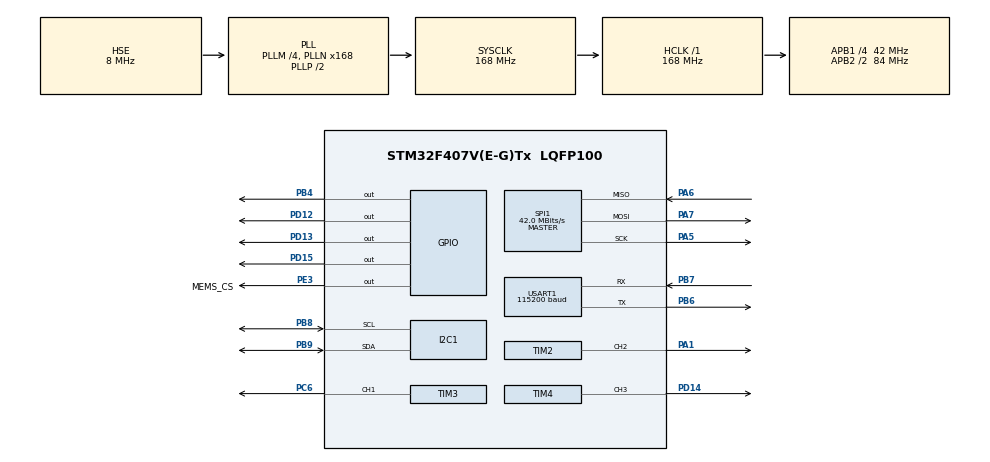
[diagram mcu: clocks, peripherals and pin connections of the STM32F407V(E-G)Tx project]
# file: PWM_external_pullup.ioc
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Dma.Request0=USART1_TX
Dma.Request1=USART1_RX
Dma.USART1_RX.1.Direction=DMA_PERIPH_TO_MEMORY
Dma.USART1_RX.1.FIFOMode=DMA_FIFOMODE_DISABLE
Dma.USART1_RX.1.Instance=DMA2_Stream2
Dma.USART1_RX.1.MemDataAlignment=DMA_MDATAALIGN_BYTE
Dma.USART1_RX.1.MemInc=DMA_MINC_ENABLE
Dma.USART1_RX.1.Mode=DMA_NORMAL
Dma.USART1_RX.1.PeriphDataAlignment=DMA_PDATAALIGN_BYTE
Dma.USART1_RX.1.PeriphInc=DMA_PINC_DISABLE
Dma.USART1_RX.1.Priority=DMA_PRIORITY_LOW
Dma.USART1_TX.0.Direction=DMA_MEMORY_TO_PERIPH
Dma.USART1_TX.0.FIFOMode=DMA_FIFOMODE_DISABLE
Dma.USART1_TX.0.Instance=DMA2_Stream7
Dma.USART1_TX.0.MemDataAlignment=DMA_MDATAALIGN_BYTE
Dma.USART1_TX.0.MemInc=DMA_MINC_ENABLE
Dma.USART1_TX.0.Mode=DMA_NORMAL
Dma.USART1_TX.0.PeriphDataAlignment=DMA_PDATAALIGN_BYTE
Dma.USART1_TX.0.PeriphInc=DMA_PINC_DISABLE
Dma.USART1_TX.0.Priority=DMA_PRIORITY_LOW
I2C1.I2C_Mode=I2C_Fast
Mcu.Family=STM32F4
Mcu.Name=STM32F407V(E-G)Tx
Mcu.Package=LQFP100
NVIC.DMA2_Stream2_IRQn=true\:0\:0\:false\:false\:true\:false\:true
NVIC.DMA2_Stream7_IRQn=true\:0\:0\:false\:false\:true\:false\:true
NVIC.PriorityGroup=NVIC_PRIORITYGROUP_0
NVIC.TIM1_TRG_COM_TIM11_IRQn=true\:0\:0\:false\:false\:true\:true\:true
NVIC.TIM1_UP_TIM10_IRQn=true\:0\:0\:false\:false\:true\:true\:true
NVIC.TIM3_IRQn=true\:0\:0\:false\:false\:true\:true\:true
NVIC.TIM4_IRQn=true\:0\:0\:false\:false\:true\:true\:true
NVIC.TIM8_UP_TIM13_IRQn=true\:0\:0\:false\:false\:true\:true\:true
NVIC.USART1_IRQn=true\:0\:0\:false\:false\:true\:true\:true
PA1.GPIO_ModeDefaultPP=GPIO_MODE_AF_OD
PA1.GPIO_PuPd=GPIO_NOPULL
PA1.Signal=S_TIM2_CH2
PA5.Mode=Full_Duplex_Master
PA5.Signal=SPI1_SCK
PA6.Mode=Full_Duplex_Master
PA6.Signal=SPI1_MISO
PA7.Mode=Full_Duplex_Master
PA7.Signal=SPI1_MOSI
PB4.Signal=GPIO_Output
PB6.Mode=Asynchronous
PB6.Signal=USART1_TX
PB7.Mode=Asynchronous
PB7.Signal=USART1_RX
PB8.Mode=I2C
PB8.Signal=I2C1_SCL
PB9.Mode=I2C
PB9.Signal=I2C1_SDA
PC6.Signal=S_TIM3_CH1
PD12.Signal=GPIO_Output
PD13.Signal=GPIO_Output
PD14.GPIO_ModeDefaultPP=GPIO_MODE_AF_OD
PD14.GPIO_PuPd=GPIO_NOPULL
PD14.Signal=S_TIM4_CH3
PD15.Signal=GPIO_Output
PE3.GPIO_Label=MEMS_CS
PE3.Signal=GPIO_Output
PH0-OSC_IN.Mode=HSE-External-Oscillator
PH0-OSC_IN.Signal=RCC_OSC_IN
PH1-OSC_OUT.Mode=HSE-External-Oscillator
PH1-OSC_OUT.Signal=RCC_OSC_OUT
ProjectManager.HeapSize=0x200
ProjectManager.StackSize=0x400
ProjectManager.TargetToolchain=MDK-ARM V5
RCC.48MHZClocksFreq_Value=48000000
RCC.AHBFreq_Value=168000000
RCC.APB1CLKDivider=RCC_HCLK_DIV4
RCC.APB1Freq_Value=42000000
RCC.APB1TimFreq_Value=84000000
RCC.APB2CLKDivider=RCC_HCLK_DIV2
RCC.APB2Freq_Value=84000000
RCC.APB2TimFreq_Value=168000000
RCC.CortexFreq_Value=168000000
RCC.HCLKFreq_Value=168000000
RCC.HSE_VALUE=8000000
RCC.HSI_VALUE=16000000
RCC.LSE_VALUE=32768
RCC.PLLM=4
RCC.PLLN=168
RCC.PLLQ=7
RCC.PLLSourceVirtual=RCC_PLLSOURCE_HSE
RCC.SYSCLKFreq_VALUE=168000000
RCC.SYSCLKSource=RCC_SYSCLKSOURCE_PLLCLK
RCC.VCOOutputFreq_Value=336000000
SH.S_TIM2_CH2.0=TIM2_CH2,PWM Generation2 CH2
SH.S_TIM3_CH1.0=TIM3_CH1,PWM Generation1 CH1
SH.S_TIM4_CH3.0=TIM4_CH3,PWM Generation3 CH3
SPI1.BaudRatePrescaler=SPI_BAUDRATEPRESCALER_2
SPI1.CalculateBaudRate=42.0 MBits/s
SPI1.Direction=SPI_DIRECTION_2LINES
SPI1.Mode=SPI_MODE_MASTER
SPI1.VirtualType=VM_MASTER
TIM10.Period=239
TIM10.Prescaler=9999
TIM11.Period=8399
TIM11.Prescaler=9999
TIM13.Period=83
TIM13.Prescaler=9999
TIM2.Channel-PWM\ Generation2\ CH2=TIM_CHANNEL_2
TIM2.Period=999
TIM2.Prescaler=1679
TIM3.Channel-PWM\ Generation1\ CH1=TIM_CHANNEL_1
TIM3.Period=999
TIM3.Prescaler=419
TIM4.Channel-PWM\ Generation3\ CH3=TIM_CHANNEL_3
TIM4.Period=999
TIM4.Prescaler=419
USART1.BaudRate=115200
USART1.VirtualMode=VM_ASYNC
VP_TIM10_VS_ClockSourceINT.Mode=Enable_Timer
VP_TIM11_VS_ClockSourceINT.Mode=Enable_Timer
VP_TIM13_VS_ClockSourceINT.Mode=Enable_Timer
VP_TIM2_VS_ClockSourceINT.Mode=Internal
VP_TIM3_VS_ClockSourceINT.Mode=Internal
VP_TIM4_VS_ClockSourceINT.Mode=Internal
board=STM32F4DISCOVERY

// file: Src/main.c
/* USER CODE BEGIN Header */
/**
  ******************************************************************************
  * @file           : main.c
  * @brief          : Main program body
  ******************************************************************************
  * Source code of spherical robot 'SPHERE' constructed by Adrian Luberda on
	* AGH University of Science in Technology as part of Engineering and
	* Master Thesis in years: 2018 - 2020.
	*
	* This is the final version of the code.
  *
  ******************************************************************************
  */
/* USER CODE END Header */

#include "main.h"

/* USER CODE BEGIN Includes */
#include "stm32f4xx_hal.h"
#include "i2c.h"
#include <string.h>
#include "gpio.h"
#include "mpu6050.h"
#include <math.h>
//#include "stdlib.h"
//#include "stdint.h" // makes uint8_t available

/* USER CODE END Includes */

/* USER CODE BEGIN PD */
#define EPS  (float) 0.08f
#define P1   (float) -0.000067f
#define P2   (float) -0.000287f
#define P3   (float) 0.871698f
#define KP   (float) 0.9f//0.7f //1.0f //0.751
#define KI   (float) -0.035f//-0.2f //-0.8f
#define KD   (float) -0.07f//-0.11f//-0.125f
#define	TD   (float) 0.1f//0.1f
#define TP   (float) 0.014f
#define TRES (float) 0.0f
#define TF   (float) 0.14f
/* USER CODE END PD */

I2C_HandleTypeDef hi2c1;

SPI_HandleTypeDef hspi1;

TIM_HandleTypeDef htim2;
TIM_HandleTypeDef htim3;
TIM_HandleTypeDef htim4;
TIM_HandleTypeDef htim10;
TIM_HandleTypeDef htim11;
TIM_HandleTypeDef htim13;

UART_HandleTypeDef huart1;
DMA_HandleTypeDef hdma_usart1_tx;
DMA_HandleTypeDef hdma_usart1_rx;

/* USER CODE BEGIN PV */
uint8_t received_data1;
uint8_t received_data[4];

int16_t acc_x, acc_y, acc_z, gyr_x, gyr_y, gyr_z;
float ax, ay, az, gx, gy, gz, temperature, roll, pitch;
float q0_mah, q1_mah, q2_mah, q3_mah;
float q0_mad, q1_mad, q2_mad, q3_mad;
uint8_t buffer[128];
static uint8_t send_data[40];
uint16_t size = 0;

float pitch_comp, roll_comp; //values from complementary filter
float pitchGyro, pitchAccel;

uint16_t counter = 0;

/*  *************PID**************  */
//PID variables:
float sphereRoll_SetPoint = 0.0;
float roll_error = 0.0;
float prev_roll_error = 0;
float prev_prev_roll_error = 0;
float control = 0.0;
float prev_control = 0.0;
float prev_prev_control = 0.0;

 /* Choose a controller type
		0 - no controller
		1 - PID                      */
uint8_t controller_type = 0;
float wspE  = (KP*TD+KD);
float wspE1 = (KI*TP*TD + KP*(TP-2*TD) - 2*KD);
float wspE2 = (TP-TD)*(KI*TP - KP) + KD;
float wspU1 = -(TP-2*TD);
float wspU2 = -(TD-TP);

/* *************END PID**************  */

/* Mode 2 */
//float proportional = 0;
//float integrator = 0;
//float differentiator = 0;
//float Kp = -0.7; //2.0;
//float Ki = 0.1;
//float Kd = 0.35; //0.0;
//float T = 0.1; //0.01428;

/* USER CODE END PV */

void SystemClock_Config(void);
static void MX_GPIO_Init(void);
static void MX_DMA_Init(void);
static void MX_TIM4_Init(void);
static void MX_USART1_UART_Init(void);
static void MX_TIM11_Init(void);
static void MX_TIM2_Init(void);
static void MX_SPI1_Init(void);
static void MX_I2C1_Init(void);
static void MX_TIM10_Init(void);
static void MX_TIM13_Init(void);
static void MX_TIM3_Init(void);
/* USER CODE BEGIN PFP */

/*
void HAL_TIM_PeriodElapsedCallback(TIM_HandleTypeDef *htim)
{
	if (htim->Instance == TIM6){
		do tim6 stuff
	}
	if (htim->Instance == TIM7){
		do tim7 stuff
	}
}
*/

//Timer interrupts
void HAL_TIM_PeriodElapsedCallback(TIM_HandleTypeDef *htim){

	if(htim->Instance == TIM10){ //70Hz Interrupt for sending data to PC

		//MPU6050_GetAccelerometerScaled(&ax, &ay, &az);
	  //MPU6050_GetGyroscopeScaled(&gx, &gy, &gz);

		//ComplementaryFilter(&roll_comp, &pitch_comp);//, &pitchGyro, &pitchAccel);
		//MPU6050_GetRollPitch(&roll, &pitch);

		//Outputformat for debugging:
		//size = sprintf(send_data, "%.2f,%.2f,%d \n", control, pitch_comp, TIM2->CCR2);

		//output format for GUI:
		size = sprintf(send_data, "%.2f,%.2f,%d,%d \n", roll_comp, pitch_comp, TIM2->CCR2, TIM3->CCR1);
		HAL_UART_Transmit_DMA(&huart1, send_data, size);

	}

	if(htim->Instance == TIM13) { // 200Hz interrupt for PID

		ComplementaryFilter(&roll_comp, &pitch_comp);
		//MPU6050_GetRollPitch(&roll, &pitch);

		//Calculate error between set and actual roll angle value
		// sphereRoll_SetPoint = 0.0
		// pitch_comp e[-45,45] deg
		roll_error = sphereRoll_SetPoint - pitch_comp; //pitch_comp is actually roll_comp

		//Calculate control
		control = (roll_error*wspE + prev_roll_error*wspE1 + prev_prev_roll_error*wspE2 + prev_control*wspU1 + prev_prev_control*wspU2)/TD;

		//proportional = Kp * roll_error;
		//integrator = integrator + 0.5f * Ki * T * (roll_error + prev_roll_error);

		//control = proportional + integrator; // + differentiator;

		if(control>98)
			 control = 98;
		else if(control<-98)
			 control = -98;

		if(controller_type == 0) { //if controller_type is a PID
			TIM2->CCR2 = (int)(57 + (30 * control/100));
		}

//		if(control > 0){   //turn [R]ight
//			TIM2->CCR2 = (int)(57 + (30 * control/100));
//		}
//		else if(control < 0) {    //turn [L]eft
//			TIM2->CCR2 = (int)(57 + (30 * control/100));
//		} else {
//			TIM2->CCR2 = 57;
//		}

		prev_prev_control = prev_control;
		prev_control = control;
		prev_prev_roll_error = prev_roll_error;
		prev_roll_error = roll_error;

		//size = sprintf(send_data, "%.2f,%d \n", pitch_comp, TIM2->CCR2);
		//size = sprintf(send_data, "%.2f,%.2f,%d,%d \n", roll, pitch_comp, TIM2->CCR2, counter);
		//HAL_UART_Transmit_DMA(&huart1, send_data, size);
	}

}

//UART Interrupt - get data from UART (Bluetooth module). 4 digits, speed and turn control.
void HAL_UART_RxCpltCallback(UART_HandleTypeDef *huart) {
	/*
	//(OLD SERVO: TIM4->CCR3 = 74; 		// Servo bez blokady: 40-0.8ms, 50-1.0ms, 80-1.6ms, 100-2.0ms, 110-2.2ms  74- STOP)
	//TIM4->CCR3 = (int)(74 - (34 * speed/100)); //zadajemy predkosc proporcjonalna do zadanej wahadla bez blokady
	//size = sprintf(send_data, "SF%d, TIM4: %d, Roll: %.2f\n", speed, TIM4->CCR3, pitch_comp);
	//TIM4->CCR3 = (int)(74 + (34 * speed/100)); //zadajemy predkosc proporcjonalna do zadanej wahadla bez blokady
	//size = sprintf(send_data, "SR%d, TIM4: %d, Roll: %.2f\n", speed, TIM4->CCR3, pitch_comp);

	//NEW SERVO:  TIM4->CCR3 = 300;       //360 servo: 90-MAX SPEED CCW, 300-STOP, 530-MAX SPEED CW
	//TURN SERVO: TIM2->CCR2 = 56; // Servo z blokada: 20-0.4ms, 130-2.6ms  32- lewe skrajne, 56-srodek, 80-prawe skrajne

	//uint8_t send_data[50];
	//uint16_t size = 0;
	*/

	//uint8_t controller = atoi(&received_data[0]);
	uint8_t servo = received_data[0]; // S - bez blokady, T - z blokada
	uint8_t direction = received_data[1]; //Left, Right, albo Forward, Reverse
	int speed = atoi(&received_data[2]); // will read till the end of message? // + atoi(&received_data[3]); //  0-99% ???

	//controller_type = controller;

	if(servo == 'S' || servo == 's') { //jezeli chcemy sterowac predkoscia [S]peed
		if( direction == 'F' || direction == 'f'){    //jazda do przodu [F]orward
			TIM3->CCR1 = (int)(300 + (210 * speed/100));
		}
		else if(direction == 'R' || direction == 'r') {      //jazda do tylu [R]everse
			TIM3->CCR1 = (int)(300 - (210 * speed/100));
		}
		else{		// Other unforseen messages
			//size = sprintf(send_data, "Odebrana wiadomosc zawiera nieznane znaki!\n");
		}
	}
	else if(servo == 'T' || servo == 't'){        // jezeli chcemy skrecac [T]urn
		if(direction == 'R' || direction == 'r'){   // skrecamy w prawo [R]ight
			if(controller_type == 0){
			TIM2->CCR2 = (int)(57 - (30 * speed/100));
			//size = sprintf(send_data, "TR%d, TIM2: %d, Roll: %.2f\n", speed, TIM2->CCR2, pitch_comp);
			}
		}
		else if(direction == 'L' || direction == 'l') {			//skrecamy w lewo [L]eft
			if(controller_type == 0){
			TIM2->CCR2 = (int)(57 + (30 * speed/100));
			//size = sprintf(send_data, "TL%d, TIM2: %d, Roll: %.2f\n", speed, TIM2->CCR2, pitch_comp);
			}
		}
		else{   // znaki inne niz przewidziane
			//size = sprintf(send_data, "Odebrana wiadomosc zawiera nieznane znaki!\n");
		}
	}
	else {  // znaki inne niz przewidziane
		//size = sprintf(send_data, "Odebrana wiadomosc zawiera nieznane znaki!\n");
	}

	//size = sprintf(send_data, "Roll: %f.2f  Pitch: %f.2f \n", roll, pitch);
	//size = sprintf(send_data, "Odebrana wiadomosc: '%s'\n\r", received_data);
	//wyslanie przygotowanej wiadomosci
	//HAL_UART_Transmit_IT(&huart1, send_data, size);

  HAL_UART_Receive_DMA(&huart1, received_data, 4); //Enable listening
	HAL_GPIO_TogglePin(GPIOD, GPIO_PIN_15); //LED informing that UART collected data
}

//funkcja wysylajaca dane do komputera z czestotliwoscia 1Hz (przerwanie od timera)
//void HAL_TIM_PeriodElapsedCallback(TIM_HandleTypeDef *htim) {
//	uint8_t data[50];// Tablica przechowujaca wysylana wiadomosc.
//	uint16_t size = 0; // Rozmiar wysylanej wiadomosci
////static uint16_t cnt = 0; // Licznik wyslanych wiadomosci
//
//	//HAL_GPIO_TogglePin(GPIOD, GPIO_PIN_13); // Zmiana stanu pinu na diodzie LED (pomaranczowej)
//	size = sprintf(send_data, "%.2f,%.2f,%.2f \n", roll_comp, pitchGyro, pitchAccel);
//	//size = sprintf(data, "Roll: %f  Pitch: %f \n", roll, pitch);  // Wiadomosc do wyslania i przypisanie ilosci wysylanych znakow do zmiennej size.
////
//	HAL_UART_Transmit_IT(&huart1, data, size); // Rozpoczecie nadawania danych z wykorzystaniem przerwan
////	HAL_UART_Receive_IT(&huart1, received_data, 4);
////	//++cnt; // Zwiekszenie licznika wyslanych wiadomosci.
//}

/* USER CODE END PFP */

int main(void)
{

  /* MCU Configuration--------------------------------------------------------*/

  /* Reset of all peripherals, Initializes the Flash interface and the Systick. */
  HAL_Init();

  /* Configure the system clock */
  SystemClock_Config();

  /* Initialize all configured peripherals */
  MX_GPIO_Init();
  MX_DMA_Init();
  MX_TIM4_Init();
  MX_USART1_UART_Init();
  MX_TIM11_Init();
  MX_TIM2_Init();
  MX_SPI1_Init();
  MX_I2C1_Init();
  MX_TIM10_Init();
  MX_TIM13_Init();
  MX_TIM3_Init();
  /* USER CODE BEGIN 2 */
	HAL_TIM_PWM_Start(&htim4, TIM_CHANNEL_3);
	HAL_TIM_PWM_Start(&htim2, TIM_CHANNEL_2);
	HAL_TIM_PWM_Start(&htim3, TIM_CHANNEL_1);
	HAL_TIM_Base_Start_IT(&htim11);
	HAL_TIM_Base_Start_IT(&htim10);
	HAL_TIM_Base_Start_IT(&htim13);
	HAL_UART_Receive_DMA(&huart1, received_data, 4); //odbieramy 4 znaki z uart1 i zapisujemy do received_data

	//TIM4->CCR3 = 74; 		// Servo bez blokady: 40-0.8ms, 50-1.0ms, 80-1.6ms, 100-2.0ms, 110-2.2ms  74- STOP
	//TIM4->CCR3 = 300;
	TIM3->CCR1 = 300;
	TIM2->CCR2 = 57; // Servo z blokada: 20-0.4ms, 130-2.6ms  32[0.6ms]- lewe skrajne, 56[1.12ms]-srodek, 80[1.6ms]-prawe skrajne
	HAL_GPIO_WritePin(GPIOB, GPIO_PIN_4, GPIO_PIN_SET);

// IMU Functions:

	HAL_GPIO_WritePin(GPIOB, GPIO_PIN_4, GPIO_PIN_SET);

	MPU6050_Init(&hi2c1);

	//PID
	//wspE  = (KP*TD+KD);
	//wspE1 = (KI*TP*TD + KP*(TP-2*TD) - 2*KD);
	//wspE2 = (TP-TD)*(KI*TP - KP) + KD;
	//wspU1 = -(TP-2*TD);
	//wspU2 = -(TD-TP);

  /* USER CODE END 2 */

  /* Infinite loop */
  while (1){

  }
}

void SystemClock_Config(void)
{
  RCC_OscInitTypeDef RCC_OscInitStruct = {0};
  RCC_ClkInitTypeDef RCC_ClkInitStruct = {0};

  /** Configure the main internal regulator output voltage
  */
  __HAL_RCC_PWR_CLK_ENABLE();
  __HAL_PWR_VOLTAGESCALING_CONFIG(PWR_REGULATOR_VOLTAGE_SCALE1);
  /** Initializes the CPU, AHB and APB busses clocks
  */
  RCC_OscInitStruct.OscillatorType = RCC_OSCILLATORTYPE_HSE;
  RCC_OscInitStruct.HSEState = RCC_HSE_ON;
  RCC_OscInitStruct.PLL.PLLState = RCC_PLL_ON;
  RCC_OscInitStruct.PLL.PLLSource = RCC_PLLSOURCE_HSE;
  RCC_OscInitStruct.PLL.PLLM = 4;
  RCC_OscInitStruct.PLL.PLLN = 168;
  RCC_OscInitStruct.PLL.PLLP = RCC_PLLP_DIV2;
  RCC_OscInitStruct.PLL.PLLQ = 7;
  if (HAL_RCC_OscConfig(&RCC_OscInitStruct) != HAL_OK)
  {
    Error_Handler();
  }
  /** Initializes the CPU, AHB and APB busses clocks
  */
  RCC_ClkInitStruct.ClockType = RCC_CLOCKTYPE_HCLK|RCC_CLOCKTYPE_SYSCLK
                              |RCC_CLOCKTYPE_PCLK1|RCC_CLOCKTYPE_PCLK2;
  RCC_ClkInitStruct.SYSCLKSource = RCC_SYSCLKSOURCE_PLLCLK;
  RCC_ClkInitStruct.AHBCLKDivider = RCC_SYSCLK_DIV1;
  RCC_ClkInitStruct.APB1CLKDivider = RCC_HCLK_DIV4;
  RCC_ClkInitStruct.APB2CLKDivider = RCC_HCLK_DIV2;

  if (HAL_RCC_ClockConfig(&RCC_ClkInitStruct, FLASH_LATENCY_5) != HAL_OK)
  {
    Error_Handler();
  }
}

static void MX_I2C1_Init(void)
{

  hi2c1.Instance = I2C1;
  hi2c1.Init.ClockSpeed = 400000;
  hi2c1.Init.DutyCycle = I2C_DUTYCYCLE_2;
  hi2c1.Init.OwnAddress1 = 0;
  hi2c1.Init.AddressingMode = I2C_ADDRESSINGMODE_7BIT;
  hi2c1.Init.DualAddressMode = I2C_DUALADDRESS_DISABLE;
  hi2c1.Init.OwnAddress2 = 0;
  hi2c1.Init.GeneralCallMode = I2C_GENERALCALL_DISABLE;
  hi2c1.Init.NoStretchMode = I2C_NOSTRETCH_DISABLE;
  if (HAL_I2C_Init(&hi2c1) != HAL_OK)
  {
    Error_Handler();
  }

}

static void MX_SPI1_Init(void)
{

  /* SPI1 parameter configuration*/
  hspi1.Instance = SPI1;
  hspi1.Init.Mode = SPI_MODE_MASTER;
  hspi1.Init.Direction = SPI_DIRECTION_2LINES;
  hspi1.Init.DataSize = SPI_DATASIZE_8BIT;
  hspi1.Init.CLKPolarity = SPI_POLARITY_LOW;
  hspi1.Init.CLKPhase = SPI_PHASE_1EDGE;
  hspi1.Init.NSS = SPI_NSS_SOFT;
  hspi1.Init.BaudRatePrescaler = SPI_BAUDRATEPRESCALER_2;
  hspi1.Init.FirstBit = SPI_FIRSTBIT_MSB;
  hspi1.Init.TIMode = SPI_TIMODE_DISABLE;
  hspi1.Init.CRCCalculation = SPI_CRCCALCULATION_DISABLE;
  hspi1.Init.CRCPolynomial = 10;
  if (HAL_SPI_Init(&hspi1) != HAL_OK)
  {
    Error_Handler();
  }

}

static void MX_TIM2_Init(void)
{

  TIM_ClockConfigTypeDef sClockSourceConfig = {0};
  TIM_MasterConfigTypeDef sMasterConfig = {0};
  TIM_OC_InitTypeDef sConfigOC = {0};

  htim2.Instance = TIM2;
  htim2.Init.Prescaler = 1679;
  htim2.Init.CounterMode = TIM_COUNTERMODE_UP;
  htim2.Init.Period = 999;
  htim2.Init.ClockDivision = TIM_CLOCKDIVISION_DIV1;
  htim2.Init.AutoReloadPreload = TIM_AUTORELOAD_PRELOAD_DISABLE;
  if (HAL_TIM_Base_Init(&htim2) != HAL_OK)
  {
    Error_Handler();
  }
  sClockSourceConfig.ClockSource = TIM_CLOCKSOURCE_INTERNAL;
  if (HAL_TIM_ConfigClockSource(&htim2, &sClockSourceConfig) != HAL_OK)
  {
    Error_Handler();
  }
  if (HAL_TIM_PWM_Init(&htim2) != HAL_OK)
  {
    Error_Handler();
  }
  sMasterConfig.MasterOutputTrigger = TIM_TRGO_RESET;
  sMasterConfig.MasterSlaveMode = TIM_MASTERSLAVEMODE_DISABLE;
  if (HAL_TIMEx_MasterConfigSynchronization(&htim2, &sMasterConfig) != HAL_OK)
  {
    Error_Handler();
  }
  sConfigOC.OCMode = TIM_OCMODE_PWM1;
  sConfigOC.Pulse = 0;
  sConfigOC.OCPolarity = TIM_OCPOLARITY_HIGH;
  sConfigOC.OCFastMode = TIM_OCFAST_DISABLE;
  if (HAL_TIM_PWM_ConfigChannel(&htim2, &sConfigOC, TIM_CHANNEL_2) != HAL_OK)
  {
    Error_Handler();
  }
  HAL_TIM_MspPostInit(&htim2);

}

static void MX_TIM3_Init(void)
{

  TIM_ClockConfigTypeDef sClockSourceConfig = {0};
  TIM_MasterConfigTypeDef sMasterConfig = {0};
  TIM_OC_InitTypeDef sConfigOC = {0};

  htim3.Instance = TIM3;
  htim3.Init.Prescaler = 419;
  htim3.Init.CounterMode = TIM_COUNTERMODE_UP;
  htim3.Init.Period = 999;
  htim3.Init.ClockDivision = TIM_CLOCKDIVISION_DIV1;
  htim3.Init.AutoReloadPreload = TIM_AUTORELOAD_PRELOAD_DISABLE;
  if (HAL_TIM_Base_Init(&htim3) != HAL_OK)
  {
    Error_Handler();
  }
  sClockSourceConfig.ClockSource = TIM_CLOCKSOURCE_INTERNAL;
  if (HAL_TIM_ConfigClockSource(&htim3, &sClockSourceConfig) != HAL_OK)
  {
    Error_Handler();
  }
  if (HAL_TIM_PWM_Init(&htim3) != HAL_OK)
  {
    Error_Handler();
  }
  sMasterConfig.MasterOutputTrigger = TIM_TRGO_RESET;
  sMasterConfig.MasterSlaveMode = TIM_MASTERSLAVEMODE_DISABLE;
  if (HAL_TIMEx_MasterConfigSynchronization(&htim3, &sMasterConfig) != HAL_OK)
  {
    Error_Handler();
  }
  sConfigOC.OCMode = TIM_OCMODE_PWM1;
  sConfigOC.Pulse = 0;
  sConfigOC.OCPolarity = TIM_OCPOLARITY_HIGH;
  sConfigOC.OCFastMode = TIM_OCFAST_DISABLE;
  if (HAL_TIM_PWM_ConfigChannel(&htim3, &sConfigOC, TIM_CHANNEL_1) != HAL_OK)
  {
    Error_Handler();
  }
  HAL_TIM_MspPostInit(&htim3);

}

static void MX_TIM4_Init(void)
{

  TIM_ClockConfigTypeDef sClockSourceConfig = {0};
  TIM_MasterConfigTypeDef sMasterConfig = {0};
  TIM_OC_InitTypeDef sConfigOC = {0};

  htim4.Instance = TIM4;
  htim4.Init.Prescaler = 419;
  htim4.Init.CounterMode = TIM_COUNTERMODE_UP;
  htim4.Init.Period = 999;
  htim4.Init.ClockDivision = TIM_CLOCKDIVISION_DIV1;
  htim4.Init.AutoReloadPreload = TIM_AUTORELOAD_PRELOAD_DISABLE;
  if (HAL_TIM_Base_Init(&htim4) != HAL_OK)
  {
    Error_Handler();
  }
  sClockSourceConfig.ClockSource = TIM_CLOCKSOURCE_INTERNAL;
  if (HAL_TIM_ConfigClockSource(&htim4, &sClockSourceConfig) != HAL_OK)
  {
    Error_Handler();
  }
  if (HAL_TIM_PWM_Init(&htim4) != HAL_OK)
  {
    Error_Handler();
  }
  sMasterConfig.MasterOutputTrigger = TIM_TRGO_RESET;
  sMasterConfig.MasterSlaveMode = TIM_MASTERSLAVEMODE_DISABLE;
  if (HAL_TIMEx_MasterConfigSynchronization(&htim4, &sMasterConfig) != HAL_OK)
  {
    Error_Handler();
  }
  sConfigOC.OCMode = TIM_OCMODE_PWM1;
  sConfigOC.Pulse = 0;
  sConfigOC.OCPolarity = TIM_OCPOLARITY_HIGH;
  sConfigOC.OCFastMode = TIM_OCFAST_DISABLE;
  if (HAL_TIM_PWM_ConfigChannel(&htim4, &sConfigOC, TIM_CHANNEL_3) != HAL_OK)
  {
    Error_Handler();
  }
  HAL_TIM_MspPostInit(&htim4);

}

static void MX_TIM10_Init(void)
{

  htim10.Instance = TIM10;
  htim10.Init.Prescaler = 9999;
  htim10.Init.CounterMode = TIM_COUNTERMODE_UP;
  htim10.Init.Period = 239;
  htim10.Init.ClockDivision = TIM_CLOCKDIVISION_DIV1;
  htim10.Init.AutoReloadPreload = TIM_AUTORELOAD_PRELOAD_DISABLE;
  if (HAL_TIM_Base_Init(&htim10) != HAL_OK)
  {
    Error_Handler();
  }

}

static void MX_TIM11_Init(void)
{

  htim11.Instance = TIM11;
  htim11.Init.Prescaler = 9999;
  htim11.Init.CounterMode = TIM_COUNTERMODE_UP;
  htim11.Init.Period = 8399;
  htim11.Init.ClockDivision = TIM_CLOCKDIVISION_DIV1;
  htim11.Init.AutoReloadPreload = TIM_AUTORELOAD_PRELOAD_DISABLE;
  if (HAL_TIM_Base_Init(&htim11) != HAL_OK)
  {
    Error_Handler();
  }

}

static void MX_TIM13_Init(void)
{

  htim13.Instance = TIM13;
  htim13.Init.Prescaler = 9999;
  htim13.Init.CounterMode = TIM_COUNTERMODE_UP;
  htim13.Init.Period = 83;
  htim13.Init.ClockDivision = TIM_CLOCKDIVISION_DIV1;
  htim13.Init.AutoReloadPreload = TIM_AUTORELOAD_PRELOAD_DISABLE;
  if (HAL_TIM_Base_Init(&htim13) != HAL_OK)
  {
    Error_Handler();
  }

}

static void MX_USART1_UART_Init(void)
{

  huart1.Instance = USART1;
  huart1.Init.BaudRate = 115200;
  huart1.Init.WordLength = UART_WORDLENGTH_8B;
  huart1.Init.StopBits = UART_STOPBITS_1;
  huart1.Init.Parity = UART_PARITY_NONE;
  huart1.Init.Mode = UART_MODE_TX_RX;
  huart1.Init.HwFlowCtl = UART_HWCONTROL_NONE;
  huart1.Init.OverSampling = UART_OVERSAMPLING_16;
  if (HAL_UART_Init(&huart1) != HAL_OK)
  {
    Error_Handler();
  }

}

static void MX_DMA_Init(void)
{

  /* DMA controller clock enable */
  __HAL_RCC_DMA2_CLK_ENABLE();

  /* DMA interrupt init */
  /* DMA2_Stream2_IRQn interrupt configuration */
  HAL_NVIC_SetPriority(DMA2_Stream2_IRQn, 0, 0);
  HAL_NVIC_EnableIRQ(DMA2_Stream2_IRQn);
  /* DMA2_Stream7_IRQn interrupt configuration */
  HAL_NVIC_SetPriority(DMA2_Stream7_IRQn, 0, 0);
  HAL_NVIC_EnableIRQ(DMA2_Stream7_IRQn);

}

static void MX_GPIO_Init(void)
{
  GPIO_InitTypeDef GPIO_InitStruct = {0};

  /* GPIO Ports Clock Enable */
  __HAL_RCC_GPIOE_CLK_ENABLE();
  __HAL_RCC_GPIOH_CLK_ENABLE();
  __HAL_RCC_GPIOA_CLK_ENABLE();
  __HAL_RCC_GPIOD_CLK_ENABLE();
  __HAL_RCC_GPIOC_CLK_ENABLE();
  __HAL_RCC_GPIOB_CLK_ENABLE();

  /*Configure GPIO pin Output Level */
  HAL_GPIO_WritePin(MEMS_CS_GPIO_Port, MEMS_CS_Pin, GPIO_PIN_RESET);

  /*Configure GPIO pin Output Level */
  HAL_GPIO_WritePin(GPIOD, GPIO_PIN_12|GPIO_PIN_13|GPIO_PIN_15, GPIO_PIN_RESET);

  /*Configure GPIO pin Output Level */
  HAL_GPIO_WritePin(GPIOB, GPIO_PIN_4, GPIO_PIN_RESET);

  /*Configure GPIO pin : MEMS_CS_Pin */
  GPIO_InitStruct.Pin = MEMS_CS_Pin;
  GPIO_InitStruct.Mode = GPIO_MODE_OUTPUT_PP;
  GPIO_InitStruct.Pull = GPIO_NOPULL;
  GPIO_InitStruct.Speed = GPIO_SPEED_FREQ_LOW;
  HAL_GPIO_Init(MEMS_CS_GPIO_Port, &GPIO_InitStruct);

  /*Configure GPIO pins : PD12 PD13 PD15 */
  GPIO_InitStruct.Pin = GPIO_PIN_12|GPIO_PIN_13|GPIO_PIN_15;
  GPIO_InitStruct.Mode = GPIO_MODE_OUTPUT_PP;
  GPIO_InitStruct.Pull = GPIO_NOPULL;
  GPIO_InitStruct.Speed = GPIO_SPEED_FREQ_LOW;
  HAL_GPIO_Init(GPIOD, &GPIO_InitStruct);

  /*Configure GPIO pin : PB4 */
  GPIO_InitStruct.Pin = GPIO_PIN_4;
  GPIO_InitStruct.Mode = GPIO_MODE_OUTPUT_PP;
  GPIO_InitStruct.Pull = GPIO_NOPULL;
  GPIO_InitStruct.Speed = GPIO_SPEED_FREQ_LOW;
  HAL_GPIO_Init(GPIOB, &GPIO_InitStruct);

}

void Error_Handler(void)
{
}

/************************ (C) COPYRIGHT STMicroelectronics *****END OF FILE****/
